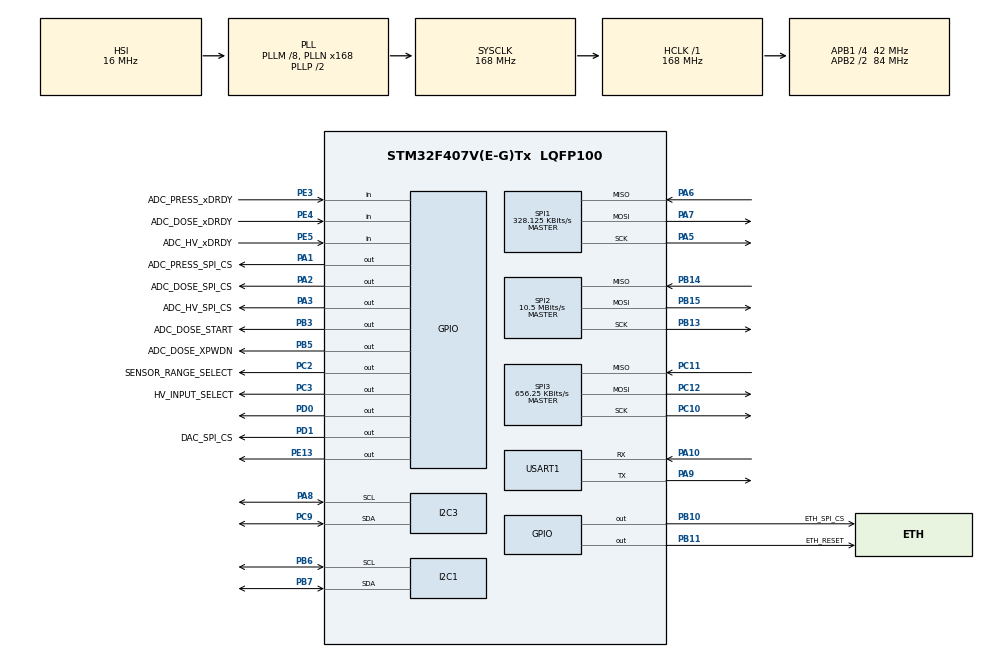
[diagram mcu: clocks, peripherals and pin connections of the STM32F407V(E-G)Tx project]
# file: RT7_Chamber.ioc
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I2C3.I2C_Mode=I2C_Fast
Mcu.Family=STM32F4
Mcu.Name=STM32F407V(E-G)Tx
Mcu.Package=LQFP100
NVIC.PriorityGroup=NVIC_PRIORITYGROUP_4
NVIC.TIM6_DAC_IRQn=true\:0\:0\:false\:false\:true\:true\:true\:true
NVIC.USART1_IRQn=true\:0\:0\:false\:false\:true\:true\:true\:true
PA1.GPIO_Label=ADC_PRESS_SPI_CS
PA1.GPIO_PuPd=GPIO_PULLUP
PA1.GPIO_Speed=GPIO_SPEED_FREQ_HIGH
PA1.Signal=GPIO_Output
PA10.Mode=Asynchronous
PA10.Signal=USART1_RX
PA2.GPIO_Label=ADC_DOSE_SPI_CS
PA2.GPIO_PuPd=GPIO_PULLUP
PA2.GPIO_Speed=GPIO_SPEED_FREQ_HIGH
PA2.Signal=GPIO_Output
PA3.GPIO_Label=ADC_HV_SPI_CS
PA3.GPIO_PuPd=GPIO_PULLUP
PA3.GPIO_Speed=GPIO_SPEED_FREQ_HIGH
PA3.Signal=GPIO_Output
PA5.Mode=Full_Duplex_Master
PA5.Signal=SPI1_SCK
PA6.Mode=Full_Duplex_Master
PA6.Signal=SPI1_MISO
PA7.Mode=Full_Duplex_Master
PA7.Signal=SPI1_MOSI
PA8.Mode=I2C
PA8.Signal=I2C3_SCL
PA9.Mode=Asynchronous
PA9.Signal=USART1_TX
PB10.GPIO_Label=ETH_SPI_CS
PB10.GPIO_PuPd=GPIO_PULLUP
PB10.GPIO_Speed=GPIO_SPEED_FREQ_HIGH
PB10.Signal=GPIO_Output
PB11.GPIO_Label=ETH_RESET
PB11.GPIO_ModeDefaultOutputPP=GPIO_MODE_OUTPUT_PP
PB11.GPIO_PuPd=GPIO_PULLDOWN
PB11.GPIO_Speed=GPIO_SPEED_FREQ_HIGH
PB11.Signal=GPIO_Output
PB13.Mode=Full_Duplex_Master
PB13.Signal=SPI2_SCK
PB14.Mode=Full_Duplex_Master
PB14.Signal=SPI2_MISO
PB15.Mode=Full_Duplex_Master
PB15.Signal=SPI2_MOSI
PB3.GPIO_Label=ADC_DOSE_START
PB3.GPIO_ModeDefaultOutputPP=GPIO_MODE_OUTPUT_PP
PB3.GPIO_PuPd=GPIO_PULLUP
PB3.GPIO_Speed=GPIO_SPEED_FREQ_HIGH
PB3.PinState=GPIO_PIN_SET
PB3.Signal=GPIO_Output
PB5.GPIO_Label=ADC_DOSE_XPWDN
PB5.GPIO_ModeDefaultOutputPP=GPIO_MODE_OUTPUT_PP
PB5.GPIO_PuPd=GPIO_PULLUP
PB5.GPIO_Speed=GPIO_SPEED_FREQ_HIGH
PB5.PinState=GPIO_PIN_SET
PB5.Signal=GPIO_Output
PB6.Mode=I2C
PB6.Signal=I2C1_SCL
PB7.Mode=I2C
PB7.Signal=I2C1_SDA
PC10.Mode=Full_Duplex_Master
PC10.Signal=SPI3_SCK
PC11.Mode=Full_Duplex_Master
PC11.Signal=SPI3_MISO
PC12.Mode=Full_Duplex_Master
PC12.Signal=SPI3_MOSI
PC2.GPIO_Label=SENSOR_RANGE_SELECT
PC2.GPIO_Speed=GPIO_SPEED_FREQ_HIGH
PC2.Signal=GPIO_Output
PC3.GPIO_Label=HV_INPUT_SELECT
PC3.GPIO_Speed=GPIO_SPEED_FREQ_HIGH
PC3.Signal=GPIO_Output
PC9.Mode=I2C
PC9.Signal=I2C3_SDA
PD0.Signal=GPIO_Output
PD1.GPIO_Label=DAC_SPI_CS
PD1.GPIO_PuPd=GPIO_PULLUP
PD1.GPIO_Speed=GPIO_SPEED_FREQ_HIGH
PD1.Signal=GPIO_Output
PE13.Signal=GPIO_Output
PE3.GPIO_Label=ADC_PRESS_xDRDY
PE3.Signal=GPIO_Input
PE4.GPIO_Label=ADC_DOSE_xDRDY
PE4.Signal=GPIO_Input
PE5.GPIO_Label=ADC_HV_xDRDY
PE5.Signal=GPIO_Input
ProjectManager.HeapSize=0x200
ProjectManager.StackSize=0x400
ProjectManager.TargetToolchain=STM32CubeIDE
RCC.48MHZClocksFreq_Value=84000000
RCC.AHBFreq_Value=168000000
RCC.APB1CLKDivider=RCC_HCLK_DIV4
RCC.APB1Freq_Value=42000000
RCC.APB1TimFreq_Value=84000000
RCC.APB2CLKDivider=RCC_HCLK_DIV2
RCC.APB2Freq_Value=84000000
RCC.APB2TimFreq_Value=168000000
RCC.CortexFreq_Value=168000000
RCC.HCLKFreq_Value=168000000
RCC.HSE_VALUE=25000000
RCC.HSI_VALUE=16000000
RCC.LSE_VALUE=32768
RCC.PLLM=8
RCC.PLLN=168
RCC.SYSCLKFreq_VALUE=168000000
RCC.SYSCLKSource=RCC_SYSCLKSOURCE_PLLCLK
RCC.VCOOutputFreq_Value=336000000
SPI1.BaudRatePrescaler=SPI_BAUDRATEPRESCALER_256
SPI1.CLKPhase=SPI_PHASE_1EDGE
SPI1.CLKPolarity=SPI_POLARITY_HIGH
SPI1.CalculateBaudRate=328.125 KBits/s
SPI1.Direction=SPI_DIRECTION_2LINES
SPI1.Mode=SPI_MODE_MASTER
SPI1.VirtualType=VM_MASTER
SPI2.BaudRatePrescaler=SPI_BAUDRATEPRESCALER_4
SPI2.CalculateBaudRate=10.5 MBits/s
SPI2.Direction=SPI_DIRECTION_2LINES
SPI2.Mode=SPI_MODE_MASTER
SPI2.VirtualType=VM_MASTER
SPI3.BaudRatePrescaler=SPI_BAUDRATEPRESCALER_64
SPI3.CLKPhase=SPI_PHASE_2EDGE
SPI3.CLKPolarity=SPI_POLARITY_LOW
SPI3.CalculateBaudRate=656.25 KBits/s
SPI3.Direction=SPI_DIRECTION_2LINES
SPI3.Mode=SPI_MODE_MASTER
SPI3.VirtualType=VM_MASTER
TIM6.Period=50 - 1
TIM6.Prescaler=84 - 1
USART1.VirtualMode=VM_ASYNC
VP_TIM6_VS_ClockSourceINT.Mode=Enable_Timer
board=custom

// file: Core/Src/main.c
/* USER CODE BEGIN Header */
/**
  ******************************************************************************
  * @file           : main.c
  * @brief          : Main program body
  ******************************************************************************
  * @attention
  *
  * Copyright (c) 2024 STMicroelectronics.
  * All rights reserved.
  *
  * This software is licensed under terms that can be found in the LICENSE file
  * in the root directory of this software component.
  * If no LICENSE file comes with this software, it is provided AS-IS.
  *
  ******************************************************************************
  */
/* USER CODE END Header */
#include "main.h"

/* USER CODE BEGIN Includes */
#include "general_task.h"

/* USER CODE END Includes */

I2C_HandleTypeDef hi2c1;
I2C_HandleTypeDef hi2c3;

SPI_HandleTypeDef hspi1;
SPI_HandleTypeDef hspi2;
SPI_HandleTypeDef hspi3;

TIM_HandleTypeDef htim6;

UART_HandleTypeDef huart1;

/* USER CODE BEGIN PV */
TIM_HandleTypeDef* adctim = &htim6;
general_task_t task;
UART_HandleTypeDef *conf_uart = &huart1;

/* USER CODE END PV */

void SystemClock_Config(void);
static void MX_GPIO_Init(void);
static void MX_TIM6_Init(void);
static void MX_SPI3_Init(void);
static void MX_SPI2_Init(void);
static void MX_SPI1_Init(void);
static void MX_I2C3_Init(void);
static void MX_I2C1_Init(void);
static void MX_USART1_UART_Init(void);

/* USER CODE BEGIN 0 */
void HAL_UART_RxCpltCallback(UART_HandleTypeDef *huart)
{
	if(huart == conf_uart)
	{
		general_task_uart_recv_callback(&task);
	}
}

/* USER CODE END 0 */

int main(void)
{

  /* MCU Configuration--------------------------------------------------------*/

  /* Reset of all peripherals, Initializes the Flash interface and the Systick. */
  HAL_Init();

  /* Configure the system clock */
  SystemClock_Config();

  /* Initialize all configured peripherals */
  MX_GPIO_Init();
  MX_TIM6_Init();
  MX_SPI3_Init();
  MX_SPI2_Init();
  MX_SPI1_Init();
  MX_I2C3_Init();
  MX_I2C1_Init();
  MX_USART1_UART_Init();
  /* USER CODE BEGIN 2 */
  HAL_NVIC_DisableIRQ(USR_ADC_TIM_IRQn);

  // general task init
  general_task_init(&task);
  general_task_setup(&task);

  HAL_NVIC_EnableIRQ(USR_ADC_TIM_IRQn);

  HAL_TIM_Base_Start_IT(adctim);

  /* USER CODE END 2 */

  /* Infinite loop */
  /* USER CODE BEGIN WHILE */
  while (1)
  {
	 general_task_loop(&task);
    /* USER CODE END WHILE */

  }
}

void SystemClock_Config(void)
{
  RCC_OscInitTypeDef RCC_OscInitStruct = {0};
  RCC_ClkInitTypeDef RCC_ClkInitStruct = {0};

  /** Configure the main internal regulator output voltage
  */
  __HAL_RCC_PWR_CLK_ENABLE();
  __HAL_PWR_VOLTAGESCALING_CONFIG(PWR_REGULATOR_VOLTAGE_SCALE1);

  /** Initializes the RCC Oscillators according to the specified parameters
  * in the RCC_OscInitTypeDef structure.
  */
  RCC_OscInitStruct.OscillatorType = RCC_OSCILLATORTYPE_HSI;
  RCC_OscInitStruct.HSIState = RCC_HSI_ON;
  RCC_OscInitStruct.HSICalibrationValue = RCC_HSICALIBRATION_DEFAULT;
  RCC_OscInitStruct.PLL.PLLState = RCC_PLL_ON;
  RCC_OscInitStruct.PLL.PLLSource = RCC_PLLSOURCE_HSI;
  RCC_OscInitStruct.PLL.PLLM = 8;
  RCC_OscInitStruct.PLL.PLLN = 168;
  RCC_OscInitStruct.PLL.PLLP = RCC_PLLP_DIV2;
  RCC_OscInitStruct.PLL.PLLQ = 4;
  if (HAL_RCC_OscConfig(&RCC_OscInitStruct) != HAL_OK)
  {
    Error_Handler();
  }

  /** Initializes the CPU, AHB and APB buses clocks
  */
  RCC_ClkInitStruct.ClockType = RCC_CLOCKTYPE_HCLK|RCC_CLOCKTYPE_SYSCLK
                              |RCC_CLOCKTYPE_PCLK1|RCC_CLOCKTYPE_PCLK2;
  RCC_ClkInitStruct.SYSCLKSource = RCC_SYSCLKSOURCE_PLLCLK;
  RCC_ClkInitStruct.AHBCLKDivider = RCC_SYSCLK_DIV1;
  RCC_ClkInitStruct.APB1CLKDivider = RCC_HCLK_DIV4;
  RCC_ClkInitStruct.APB2CLKDivider = RCC_HCLK_DIV2;

  if (HAL_RCC_ClockConfig(&RCC_ClkInitStruct, FLASH_LATENCY_5) != HAL_OK)
  {
    Error_Handler();
  }
}

static void MX_I2C1_Init(void)
{

  hi2c1.Instance = I2C1;
  hi2c1.Init.ClockSpeed = 100000;
  hi2c1.Init.DutyCycle = I2C_DUTYCYCLE_2;
  hi2c1.Init.OwnAddress1 = 0;
  hi2c1.Init.AddressingMode = I2C_ADDRESSINGMODE_7BIT;
  hi2c1.Init.DualAddressMode = I2C_DUALADDRESS_DISABLE;
  hi2c1.Init.OwnAddress2 = 0;
  hi2c1.Init.GeneralCallMode = I2C_GENERALCALL_DISABLE;
  hi2c1.Init.NoStretchMode = I2C_NOSTRETCH_DISABLE;
  if (HAL_I2C_Init(&hi2c1) != HAL_OK)
  {
    Error_Handler();
  }

}

static void MX_I2C3_Init(void)
{

  hi2c3.Instance = I2C3;
  hi2c3.Init.ClockSpeed = 400000;
  hi2c3.Init.DutyCycle = I2C_DUTYCYCLE_2;
  hi2c3.Init.OwnAddress1 = 0;
  hi2c3.Init.AddressingMode = I2C_ADDRESSINGMODE_7BIT;
  hi2c3.Init.DualAddressMode = I2C_DUALADDRESS_DISABLE;
  hi2c3.Init.OwnAddress2 = 0;
  hi2c3.Init.GeneralCallMode = I2C_GENERALCALL_DISABLE;
  hi2c3.Init.NoStretchMode = I2C_NOSTRETCH_DISABLE;
  if (HAL_I2C_Init(&hi2c3) != HAL_OK)
  {
    Error_Handler();
  }

}

static void MX_SPI1_Init(void)
{

  /* SPI1 parameter configuration*/
  hspi1.Instance = SPI1;
  hspi1.Init.Mode = SPI_MODE_MASTER;
  hspi1.Init.Direction = SPI_DIRECTION_2LINES;
  hspi1.Init.DataSize = SPI_DATASIZE_8BIT;
  hspi1.Init.CLKPolarity = SPI_POLARITY_HIGH;
  hspi1.Init.CLKPhase = SPI_PHASE_1EDGE;
  hspi1.Init.NSS = SPI_NSS_SOFT;
  hspi1.Init.BaudRatePrescaler = SPI_BAUDRATEPRESCALER_256;
  hspi1.Init.FirstBit = SPI_FIRSTBIT_MSB;
  hspi1.Init.TIMode = SPI_TIMODE_DISABLE;
  hspi1.Init.CRCCalculation = SPI_CRCCALCULATION_DISABLE;
  hspi1.Init.CRCPolynomial = 10;
  if (HAL_SPI_Init(&hspi1) != HAL_OK)
  {
    Error_Handler();
  }

}

static void MX_SPI2_Init(void)
{

  /* SPI2 parameter configuration*/
  hspi2.Instance = SPI2;
  hspi2.Init.Mode = SPI_MODE_MASTER;
  hspi2.Init.Direction = SPI_DIRECTION_2LINES;
  hspi2.Init.DataSize = SPI_DATASIZE_8BIT;
  hspi2.Init.CLKPolarity = SPI_POLARITY_LOW;
  hspi2.Init.CLKPhase = SPI_PHASE_1EDGE;
  hspi2.Init.NSS = SPI_NSS_SOFT;
  hspi2.Init.BaudRatePrescaler = SPI_BAUDRATEPRESCALER_4;
  hspi2.Init.FirstBit = SPI_FIRSTBIT_MSB;
  hspi2.Init.TIMode = SPI_TIMODE_DISABLE;
  hspi2.Init.CRCCalculation = SPI_CRCCALCULATION_DISABLE;
  hspi2.Init.CRCPolynomial = 10;
  if (HAL_SPI_Init(&hspi2) != HAL_OK)
  {
    Error_Handler();
  }

}

static void MX_SPI3_Init(void)
{

  /* SPI3 parameter configuration*/
  hspi3.Instance = SPI3;
  hspi3.Init.Mode = SPI_MODE_MASTER;
  hspi3.Init.Direction = SPI_DIRECTION_2LINES;
  hspi3.Init.DataSize = SPI_DATASIZE_8BIT;
  hspi3.Init.CLKPolarity = SPI_POLARITY_LOW;
  hspi3.Init.CLKPhase = SPI_PHASE_2EDGE;
  hspi3.Init.NSS = SPI_NSS_SOFT;
  hspi3.Init.BaudRatePrescaler = SPI_BAUDRATEPRESCALER_64;
  hspi3.Init.FirstBit = SPI_FIRSTBIT_MSB;
  hspi3.Init.TIMode = SPI_TIMODE_DISABLE;
  hspi3.Init.CRCCalculation = SPI_CRCCALCULATION_DISABLE;
  hspi3.Init.CRCPolynomial = 10;
  if (HAL_SPI_Init(&hspi3) != HAL_OK)
  {
    Error_Handler();
  }

}

static void MX_TIM6_Init(void)
{

  TIM_MasterConfigTypeDef sMasterConfig = {0};

  htim6.Instance = TIM6;
  htim6.Init.Prescaler = 84 - 1;
  htim6.Init.CounterMode = TIM_COUNTERMODE_UP;
  htim6.Init.Period = 50 - 1;
  htim6.Init.AutoReloadPreload = TIM_AUTORELOAD_PRELOAD_DISABLE;
  if (HAL_TIM_Base_Init(&htim6) != HAL_OK)
  {
    Error_Handler();
  }
  sMasterConfig.MasterOutputTrigger = TIM_TRGO_RESET;
  sMasterConfig.MasterSlaveMode = TIM_MASTERSLAVEMODE_DISABLE;
  if (HAL_TIMEx_MasterConfigSynchronization(&htim6, &sMasterConfig) != HAL_OK)
  {
    Error_Handler();
  }

}

static void MX_USART1_UART_Init(void)
{

  huart1.Instance = USART1;
  huart1.Init.BaudRate = 115200;
  huart1.Init.WordLength = UART_WORDLENGTH_8B;
  huart1.Init.StopBits = UART_STOPBITS_1;
  huart1.Init.Parity = UART_PARITY_NONE;
  huart1.Init.Mode = UART_MODE_TX_RX;
  huart1.Init.HwFlowCtl = UART_HWCONTROL_NONE;
  huart1.Init.OverSampling = UART_OVERSAMPLING_16;
  if (HAL_UART_Init(&huart1) != HAL_OK)
  {
    Error_Handler();
  }

}

static void MX_GPIO_Init(void)
{
  GPIO_InitTypeDef GPIO_InitStruct = {0};

  /* GPIO Ports Clock Enable */
  __HAL_RCC_GPIOE_CLK_ENABLE();
  __HAL_RCC_GPIOC_CLK_ENABLE();
  __HAL_RCC_GPIOA_CLK_ENABLE();
  __HAL_RCC_GPIOB_CLK_ENABLE();
  __HAL_RCC_GPIOD_CLK_ENABLE();

  /*Configure GPIO pin Output Level */
  HAL_GPIO_WritePin(GPIOC, SENSOR_RANGE_SELECT_Pin|HV_INPUT_SELECT_Pin, GPIO_PIN_RESET);

  /*Configure GPIO pin Output Level */
  HAL_GPIO_WritePin(GPIOA, ADC_PRESS_SPI_CS_Pin|ADC_DOSE_SPI_CS_Pin|ADC_HV_SPI_CS_Pin, GPIO_PIN_RESET);

  /*Configure GPIO pin Output Level */
  HAL_GPIO_WritePin(GPIOE, GPIO_PIN_13, GPIO_PIN_RESET);

  /*Configure GPIO pin Output Level */
  HAL_GPIO_WritePin(GPIOB, ETH_SPI_CS_Pin|ETH_RESET_Pin, GPIO_PIN_RESET);

  /*Configure GPIO pin Output Level */
  HAL_GPIO_WritePin(GPIOD, GPIO_PIN_0, GPIO_PIN_RESET);

  /*Configure GPIO pin Output Level */
  HAL_GPIO_WritePin(DAC_SPI_CS_GPIO_Port, DAC_SPI_CS_Pin, GPIO_PIN_SET);

  /*Configure GPIO pin Output Level */
  HAL_GPIO_WritePin(GPIOB, ADC_DOSE_START_Pin|ADC_DOSE_XPWDN_Pin, GPIO_PIN_SET);

  /*Configure GPIO pins : ADC_PRESS_xDRDY_Pin ADC_DOSE_xDRDY_Pin ADC_HV_xDRDY_Pin */
  GPIO_InitStruct.Pin = ADC_PRESS_xDRDY_Pin|ADC_DOSE_xDRDY_Pin|ADC_HV_xDRDY_Pin;
  GPIO_InitStruct.Mode = GPIO_MODE_INPUT;
  GPIO_InitStruct.Pull = GPIO_NOPULL;
  HAL_GPIO_Init(GPIOE, &GPIO_InitStruct);

  /*Configure GPIO pins : SENSOR_RANGE_SELECT_Pin HV_INPUT_SELECT_Pin */
  GPIO_InitStruct.Pin = SENSOR_RANGE_SELECT_Pin|HV_INPUT_SELECT_Pin;
  GPIO_InitStruct.Mode = GPIO_MODE_OUTPUT_PP;
  GPIO_InitStruct.Pull = GPIO_NOPULL;
  GPIO_InitStruct.Speed = GPIO_SPEED_FREQ_HIGH;
  HAL_GPIO_Init(GPIOC, &GPIO_InitStruct);

  /*Configure GPIO pins : ADC_PRESS_SPI_CS_Pin ADC_DOSE_SPI_CS_Pin ADC_HV_SPI_CS_Pin */
  GPIO_InitStruct.Pin = ADC_PRESS_SPI_CS_Pin|ADC_DOSE_SPI_CS_Pin|ADC_HV_SPI_CS_Pin;
  GPIO_InitStruct.Mode = GPIO_MODE_OUTPUT_PP;
  GPIO_InitStruct.Pull = GPIO_PULLUP;
  GPIO_InitStruct.Speed = GPIO_SPEED_FREQ_HIGH;
  HAL_GPIO_Init(GPIOA, &GPIO_InitStruct);

  /*Configure GPIO pin : PE13 */
  GPIO_InitStruct.Pin = GPIO_PIN_13;
  GPIO_InitStruct.Mode = GPIO_MODE_OUTPUT_PP;
  GPIO_InitStruct.Pull = GPIO_NOPULL;
  GPIO_InitStruct.Speed = GPIO_SPEED_FREQ_LOW;
  HAL_GPIO_Init(GPIOE, &GPIO_InitStruct);

  /*Configure GPIO pins : ETH_SPI_CS_Pin ADC_DOSE_START_Pin ADC_DOSE_XPWDN_Pin */
  GPIO_InitStruct.Pin = ETH_SPI_CS_Pin|ADC_DOSE_START_Pin|ADC_DOSE_XPWDN_Pin;
  GPIO_InitStruct.Mode = GPIO_MODE_OUTPUT_PP;
  GPIO_InitStruct.Pull = GPIO_PULLUP;
  GPIO_InitStruct.Speed = GPIO_SPEED_FREQ_HIGH;
  HAL_GPIO_Init(GPIOB, &GPIO_InitStruct);

  /*Configure GPIO pin : ETH_RESET_Pin */
  GPIO_InitStruct.Pin = ETH_RESET_Pin;
  GPIO_InitStruct.Mode = GPIO_MODE_OUTPUT_PP;
  GPIO_InitStruct.Pull = GPIO_PULLDOWN;
  GPIO_InitStruct.Speed = GPIO_SPEED_FREQ_HIGH;
  HAL_GPIO_Init(ETH_RESET_GPIO_Port, &GPIO_InitStruct);

  /*Configure GPIO pin : PD0 */
  GPIO_InitStruct.Pin = GPIO_PIN_0;
  GPIO_InitStruct.Mode = GPIO_MODE_OUTPUT_PP;
  GPIO_InitStruct.Pull = GPIO_NOPULL;
  GPIO_InitStruct.Speed = GPIO_SPEED_FREQ_LOW;
  HAL_GPIO_Init(GPIOD, &GPIO_InitStruct);

  /*Configure GPIO pin : DAC_SPI_CS_Pin */
  GPIO_InitStruct.Pin = DAC_SPI_CS_Pin;
  GPIO_InitStruct.Mode = GPIO_MODE_OUTPUT_PP;
  GPIO_InitStruct.Pull = GPIO_PULLUP;
  GPIO_InitStruct.Speed = GPIO_SPEED_FREQ_HIGH;
  HAL_GPIO_Init(DAC_SPI_CS_GPIO_Port, &GPIO_InitStruct);

}

/* USER CODE BEGIN 4 */
void HAL_TIM_PeriodElapsedCallback(TIM_HandleTypeDef *htim)
{
  /* USER CODE BEGIN Callback 0 */
	HAL_NVIC_DisableIRQ(USR_ADC_TIM_IRQn);
	if(htim == adctim)
	{
		general_task_timer_interrupt(&task);
	}
	HAL_NVIC_EnableIRQ(USR_ADC_TIM_IRQn);

  /* USER CODE END Callback 0 */
  if (htim->Instance == TIM1) {
    HAL_IncTick();
  }
  /* USER CODE BEGIN Callback 1 */

  /* USER CODE END Callback 1 */
}
/* USER CODE END 4 */

void Error_Handler(void)
{
  __disable_irq();
  while (1)
  {
  }
}
